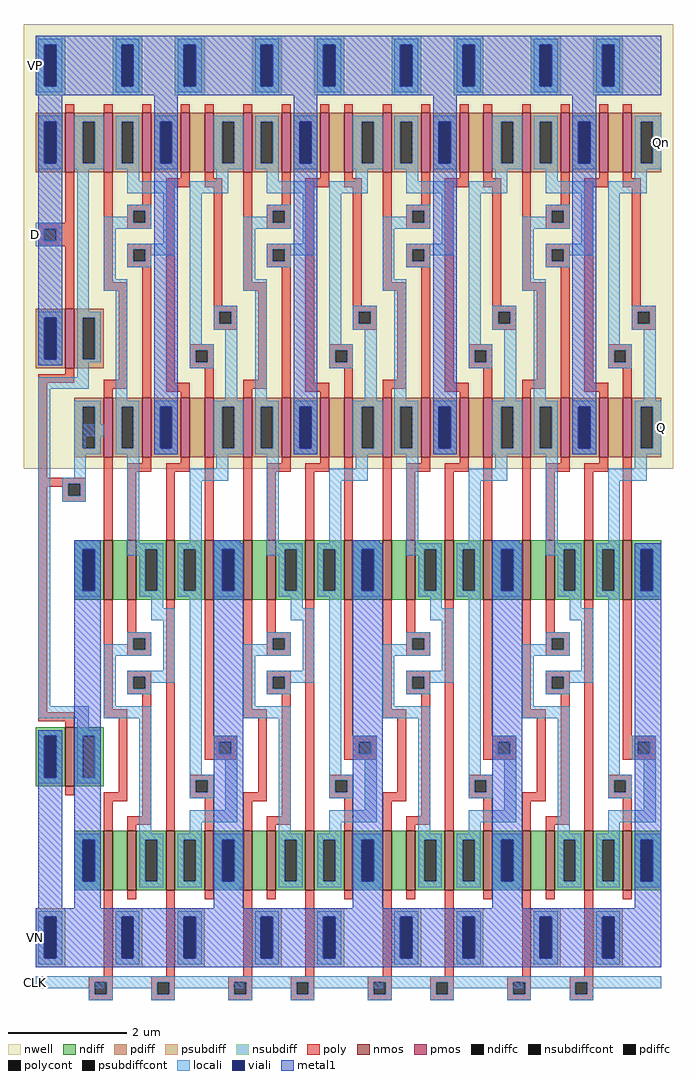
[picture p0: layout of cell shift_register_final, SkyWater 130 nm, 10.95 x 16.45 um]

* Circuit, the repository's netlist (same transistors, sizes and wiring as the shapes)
* SPICE3 file created from shift_register_final.ext - technology: sky130A

.subckt inverter A Y VP VN CLK
X0 Y A VP VP sky130_fd_pr__pfet_01v8 ad=1e+12p pd=6e+06u as=1e+12p ps=6e+06u w=1e+06u l=150000u
X1 Y A VP VP sky130_fd_pr__pfet_01v8 ad=0p pd=0u as=0p ps=0u w=1e+06u l=150000u
X2 Y A VN VN sky130_fd_pr__nfet_01v8 ad=5e+11p pd=3e+06u as=5e+11p ps=3e+06u w=1e+06u l=150000u
.ends

.subckt CSRL_D_FF_width_1 Dn D Qn Q CLK VP VN
X0 VN Q Qn VN sky130_fd_pr__nfet_01v8 ad=2e+12p pd=1.2e+07u as=5e+11p ps=3e+06u w=1e+06u l=150000u
X1 Qn Q a_290_2280# VP sky130_fd_pr__pfet_01v8 ad=5e+11p pd=3e+06u as=2.5e+11p ps=2.5e+06u w=1e+06u l=150000u
X2 a_30_840# CLK VN VN sky130_fd_pr__nfet_01v8 ad=2.5e+11p pd=2.5e+06u as=0p ps=0u w=1e+06u l=150000u
X3 VP a_30_1320# a_30_2280# VP sky130_fd_pr__pfet_01v8 ad=1e+12p pd=6e+06u as=5e+11p ps=3e+06u w=1e+06u l=150000u
X4 a_290_1320# CLK VP VP sky130_fd_pr__pfet_01v8 ad=2.5e+11p pd=2.5e+06u as=0p ps=0u w=1e+06u l=150000u
X5 a_30_1320# CLK D VP sky130_fd_pr__pfet_01v8 ad=5e+11p pd=3e+06u as=5e+11p ps=3e+06u w=1e+06u l=150000u
X6 a_30_2280# a_30_1320# a_30_n140# VN sky130_fd_pr__nfet_01v8 ad=5e+11p pd=3e+06u as=2.5e+11p ps=2.5e+06u w=1e+06u l=150000u
X7 Qn CLK a_30_2280# VN sky130_fd_pr__nfet_01v8 ad=0p pd=0u as=0p ps=0u w=1e+06u l=150000u
X8 Q CLK a_30_1320# VN sky130_fd_pr__nfet_01v8 ad=5e+11p pd=3e+06u as=5e+11p ps=3e+06u w=1e+06u l=150000u
X9 a_290_2280# CLK VP VP sky130_fd_pr__pfet_01v8 ad=0p pd=0u as=0p ps=0u w=1e+06u l=150000u
X10 Q Qn a_290_1320# VP sky130_fd_pr__pfet_01v8 ad=5e+11p pd=3e+06u as=0p ps=0u w=1e+06u l=150000u
X11 VP a_30_2280# a_30_1320# VP sky130_fd_pr__pfet_01v8 ad=0p pd=0u as=0p ps=0u w=1e+06u l=150000u
X12 a_30_n140# CLK VN VN sky130_fd_pr__nfet_01v8 ad=0p pd=0u as=0p ps=0u w=1e+06u l=150000u
X13 a_30_2280# CLK Dn VP sky130_fd_pr__pfet_01v8 ad=0p pd=0u as=5e+11p ps=3e+06u w=1e+06u l=150000u
X14 a_30_1320# a_30_2280# a_30_840# VN sky130_fd_pr__nfet_01v8 ad=0p pd=0u as=0p ps=0u w=1e+06u l=150000u
X15 VN Qn Q VN sky130_fd_pr__nfet_01v8 ad=0p pd=0u as=0p ps=0u w=1e+06u l=150000u
.ends


* Top level circuit shift_register_final

Xinverter_0 D inverter_0/Y VP VN CLK inverter
XCSRL_D_FF_width_1_0 inverter_0/Y D CSRL_D_FF_width_1_1/Dn CSRL_D_FF_width_1_1/D CLK
+ VP VN CSRL_D_FF_width_1
XCSRL_D_FF_width_1_1 CSRL_D_FF_width_1_1/Dn CSRL_D_FF_width_1_1/D CSRL_D_FF_width_1_2/Dn
+ CSRL_D_FF_width_1_2/D CLK VP VN CSRL_D_FF_width_1
XCSRL_D_FF_width_1_2 CSRL_D_FF_width_1_2/Dn CSRL_D_FF_width_1_2/D CSRL_D_FF_width_1_3/Dn
+ CSRL_D_FF_width_1_3/D CLK VP VN CSRL_D_FF_width_1
XCSRL_D_FF_width_1_3 CSRL_D_FF_width_1_3/Dn CSRL_D_FF_width_1_3/D Qn Q CLK VP VN CSRL_D_FF_width_1
.end

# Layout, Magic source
magic
tech sky130A
<< locali >>
rect 1060 1380 1075 1470
rect 20 1250 35 1290
rect 1060 900 1075 990
rect 20 0 35 20
<< metal1 >>
rect 20 1505 35 1605
rect 20 35 35 135
use inverter  inverter_0
transform 1 0 70 0 1 170
box -70 -170 85 1455
use CSRL_D_FF_width_1  CSRL_D_FF_width_1_0
transform 1 0 135 0 1 235
box -70 -250 255 1390
use CSRL_D_FF_width_1  CSRL_D_FF_width_1_1
transform 1 0 370 0 1 235
box -70 -250 255 1390
use CSRL_D_FF_width_1  CSRL_D_FF_width_1_2
transform 1 0 605 0 1 235
box -70 -250 255 1390
use CSRL_D_FF_width_1  CSRL_D_FF_width_1_3
transform 1 0 840 0 1 235
box -70 -250 255 1390
<< labels >>
rlabel locali 20 10 20 10 7 CLK
rlabel metal1 20 85 20 85 7 VN
rlabel locali 20 1270 20 1270 7 D
rlabel metal1 20 1555 20 1555 7 VP
rlabel locali 1075 1425 1075 1425 3 Qn
rlabel locali 1075 945 1075 945 3 Q
<< end >>

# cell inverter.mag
magic
tech sky130A
<< nwell >>
rect -70 705 85 1455
<< nmos >>
rect 0 170 15 270
<< pmos >>
rect 0 1205 15 1305
rect 0 875 15 975
<< ndiff >>
rect -50 255 0 270
rect -50 185 -35 255
rect -15 185 0 255
rect -50 170 0 185
rect 15 255 65 270
rect 15 185 30 255
rect 50 185 65 255
rect 15 170 65 185
<< pdiff >>
rect -50 1290 0 1305
rect -50 1220 -35 1290
rect -15 1220 0 1290
rect -50 1205 0 1220
rect 15 1290 65 1305
rect 15 1220 30 1290
rect 50 1220 65 1290
rect 15 1205 65 1220
rect -50 960 0 975
rect -50 890 -35 960
rect -15 890 0 960
rect -50 875 0 890
rect 15 960 65 975
rect 15 890 30 960
rect 50 890 65 960
rect 15 875 65 890
<< ndiffc >>
rect -35 185 -15 255
rect 30 185 50 255
<< pdiffc >>
rect -35 1220 -15 1290
rect 30 1220 50 1290
rect -35 890 -15 960
rect 30 890 50 960
<< psubdiff >>
rect -50 -50 0 -35
rect -50 -120 -35 -50
rect -15 -120 0 -50
rect -50 -135 0 -120
<< nsubdiff >>
rect -50 1420 0 1435
rect -50 1350 -35 1420
rect -15 1350 0 1420
rect -50 1335 0 1350
<< psubdiffcont >>
rect -35 -120 -15 -50
<< nsubdiffcont >>
rect -35 1350 -15 1420
<< poly >>
rect 0 1305 15 1320
rect 0 1120 15 1205
rect -45 1110 15 1120
rect -45 1090 -35 1110
rect -15 1090 15 1110
rect -45 1080 15 1090
rect 0 975 15 1080
rect 0 865 15 875
rect -45 850 15 865
rect -45 690 -30 850
rect -45 680 35 690
rect -45 675 5 680
rect -45 295 -30 675
rect -5 660 5 675
rect 25 660 35 680
rect -5 650 35 660
rect -45 280 15 295
rect 0 270 15 280
rect 0 155 15 170
<< polycont >>
rect -35 1090 -15 1110
rect 5 660 25 680
<< locali >>
rect -45 1420 -5 1430
rect -45 1350 -35 1420
rect -15 1350 -5 1420
rect -45 1340 -5 1350
rect -45 1290 -5 1300
rect -45 1220 -35 1290
rect -15 1220 -5 1290
rect -45 1210 -5 1220
rect 20 1290 65 1300
rect 20 1220 30 1290
rect 50 1220 65 1290
rect 20 1210 65 1220
rect -50 1110 -5 1120
rect -50 1090 -35 1110
rect -15 1090 -5 1110
rect -50 1080 -5 1090
rect 20 970 40 1210
rect -45 960 -5 970
rect -45 890 -35 960
rect -15 890 -5 960
rect -45 880 -5 890
rect 20 960 60 970
rect 20 890 30 960
rect 50 890 60 960
rect 20 885 60 890
rect 20 860 40 885
rect -45 840 40 860
rect -45 305 -25 840
rect 15 760 65 780
rect 15 690 35 760
rect -5 680 35 690
rect -5 660 5 680
rect 25 660 35 680
rect -5 650 35 660
rect -45 285 40 305
rect 20 265 40 285
rect -45 255 -5 265
rect -45 185 -35 255
rect -15 185 -5 255
rect -45 175 -5 185
rect 20 255 60 265
rect 20 185 30 255
rect 50 185 60 255
rect 20 175 60 185
rect -45 -50 -5 -40
rect -45 -120 -35 -50
rect -15 -120 -5 -50
rect -45 -130 -5 -120
rect -50 -170 65 -150
<< viali >>
rect -35 1350 -15 1420
rect -35 1220 -15 1290
rect -35 890 -15 960
rect -35 185 -15 255
rect -35 -120 -15 -50
<< metal1 >>
rect -50 1420 65 1435
rect -50 1350 -35 1420
rect -15 1350 65 1420
rect -50 1335 65 1350
rect -45 1290 -5 1335
rect -45 1220 -35 1290
rect -15 1220 -5 1290
rect -45 960 -5 1220
rect -45 890 -35 960
rect -15 890 -5 960
rect -45 880 -5 890
rect -45 255 -5 265
rect -45 185 -35 255
rect -15 185 -5 255
rect -45 -35 -5 185
rect -50 -50 65 -35
rect -50 -120 -35 -50
rect -15 -120 65 -50
rect -50 -135 65 -120
<< labels >>
rlabel metal1 -50 1385 -50 1385 7 VP
port 3 w
rlabel locali 65 1255 65 1255 3 Y
port 2 e
rlabel locali 65 770 65 770 3 Ao
port 6 e
rlabel locali -50 1100 -50 1100 7 A
port 1 w
rlabel metal1 -50 -85 -50 -85 7 VN
port 4 w
rlabel locali -50 -160 -50 -160 7 CLK
port 5 w
<< end >>

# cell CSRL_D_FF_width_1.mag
magic
tech sky130A
<< nwell >>
rect -70 640 255 1390
<< nmos >>
rect 0 420 15 520
rect 40 420 55 520
rect 105 420 120 520
rect 170 420 185 520
rect 0 -70 15 30
rect 40 -70 55 30
rect 105 -70 120 30
rect 170 -70 185 30
<< pmos >>
rect 0 1140 15 1240
rect 65 1140 80 1240
rect 130 1140 145 1240
rect 170 1140 185 1240
rect 0 660 15 760
rect 65 660 80 760
rect 130 660 145 760
rect 170 660 185 760
<< ndiff >>
rect -50 505 0 520
rect -50 435 -35 505
rect -15 435 0 505
rect -50 420 0 435
rect 15 420 40 520
rect 55 505 105 520
rect 55 435 70 505
rect 90 435 105 505
rect 55 420 105 435
rect 120 505 170 520
rect 120 435 135 505
rect 155 435 170 505
rect 120 420 170 435
rect 185 505 235 520
rect 185 435 200 505
rect 220 435 235 505
rect 185 420 235 435
rect -50 15 0 30
rect -50 -55 -35 15
rect -15 -55 0 15
rect -50 -70 0 -55
rect 15 -70 40 30
rect 55 15 105 30
rect 55 -55 70 15
rect 90 -55 105 15
rect 55 -70 105 -55
rect 120 15 170 30
rect 120 -55 135 15
rect 155 -55 170 15
rect 120 -70 170 -55
rect 185 15 235 30
rect 185 -55 200 15
rect 220 -55 235 15
rect 185 -70 235 -55
<< pdiff >>
rect -50 1225 0 1240
rect -50 1155 -35 1225
rect -15 1155 0 1225
rect -50 1140 0 1155
rect 15 1225 65 1240
rect 15 1155 30 1225
rect 50 1155 65 1225
rect 15 1140 65 1155
rect 80 1225 130 1240
rect 80 1155 95 1225
rect 115 1155 130 1225
rect 80 1140 130 1155
rect 145 1140 170 1240
rect 185 1225 235 1240
rect 185 1155 200 1225
rect 220 1155 235 1225
rect 185 1140 235 1155
rect -50 745 0 760
rect -50 675 -35 745
rect -15 675 0 745
rect -50 660 0 675
rect 15 745 65 760
rect 15 675 30 745
rect 50 675 65 745
rect 15 660 65 675
rect 80 745 130 760
rect 80 675 95 745
rect 115 675 130 745
rect 80 660 130 675
rect 145 660 170 760
rect 185 745 235 760
rect 185 675 200 745
rect 220 675 235 745
rect 185 660 235 675
<< ndiffc >>
rect -35 435 -15 505
rect 70 435 90 505
rect 135 435 155 505
rect 200 435 220 505
rect -35 -55 -15 15
rect 70 -55 90 15
rect 135 -55 155 15
rect 200 -55 220 15
<< pdiffc >>
rect -35 1155 -15 1225
rect 30 1155 50 1225
rect 95 1155 115 1225
rect 200 1155 220 1225
rect -35 675 -15 745
rect 30 675 50 745
rect 95 675 115 745
rect 200 675 220 745
<< psubdiff >>
rect 15 -115 65 -100
rect 15 -185 30 -115
rect 50 -185 65 -115
rect 15 -200 65 -185
rect 120 -115 170 -100
rect 120 -185 135 -115
rect 155 -185 170 -115
rect 120 -200 170 -185
<< nsubdiff >>
rect 15 1355 65 1370
rect 15 1285 30 1355
rect 50 1285 65 1355
rect 15 1270 65 1285
rect 120 1355 170 1370
rect 120 1285 135 1355
rect 155 1285 170 1355
rect 120 1270 170 1285
<< psubdiffcont >>
rect 30 -185 50 -115
rect 135 -185 155 -115
<< nsubdiffcont >>
rect 30 1285 50 1355
rect 135 1285 155 1355
<< poly >>
rect 0 1240 15 1255
rect 65 1240 80 1255
rect 130 1240 145 1255
rect 170 1240 185 1255
rect 0 955 15 1140
rect 65 1085 80 1140
rect 130 1130 145 1140
rect 40 1075 80 1085
rect 40 1055 50 1075
rect 70 1055 80 1075
rect 40 1045 80 1055
rect 105 1115 145 1130
rect 170 1130 185 1140
rect 170 1115 200 1130
rect 40 1010 80 1020
rect 40 990 50 1010
rect 70 990 80 1010
rect 40 980 80 990
rect 0 940 40 955
rect 25 790 40 940
rect 0 775 40 790
rect 0 760 15 775
rect 65 760 80 980
rect 105 785 120 1115
rect 185 915 200 1115
rect 185 905 225 915
rect 185 885 195 905
rect 215 885 225 905
rect 185 875 225 885
rect 145 840 185 850
rect 145 820 155 840
rect 175 820 185 840
rect 145 810 185 820
rect 105 770 145 785
rect 130 760 145 770
rect 170 760 185 810
rect 0 520 15 660
rect 65 650 80 660
rect 130 650 145 660
rect 40 635 80 650
rect 105 635 145 650
rect 40 520 55 635
rect 105 520 120 635
rect 170 520 185 660
rect 0 235 15 420
rect 40 365 55 420
rect 40 355 80 365
rect 40 335 50 355
rect 70 335 80 355
rect 40 325 80 335
rect 40 290 80 300
rect 40 270 50 290
rect 70 270 80 290
rect 40 260 80 270
rect 0 220 40 235
rect 25 95 40 220
rect 0 80 40 95
rect 0 30 15 80
rect 65 55 80 260
rect 40 40 80 55
rect 40 30 55 40
rect 105 30 120 420
rect 170 190 185 420
rect 170 180 225 190
rect 170 160 195 180
rect 215 160 225 180
rect 170 150 225 160
rect 145 115 185 125
rect 145 95 155 115
rect 175 95 185 115
rect 145 85 185 95
rect 170 30 185 85
rect 0 -215 15 -70
rect 40 -85 55 -70
rect 105 -215 120 -70
rect 170 -85 185 -70
rect -25 -225 15 -215
rect -25 -245 -15 -225
rect 5 -245 15 -225
rect -25 -255 15 -245
rect 80 -225 120 -215
rect 80 -245 90 -225
rect 110 -245 120 -225
rect 80 -255 120 -245
<< polycont >>
rect 50 1055 70 1075
rect 50 990 70 1010
rect 195 885 215 905
rect 155 820 175 840
rect 50 335 70 355
rect 50 270 70 290
rect 195 160 215 180
rect 155 95 175 115
rect -15 -245 5 -225
rect 90 -245 110 -225
<< locali >>
rect 20 1355 60 1365
rect 20 1285 30 1355
rect 50 1285 60 1355
rect 20 1275 60 1285
rect 125 1355 165 1365
rect 125 1285 135 1355
rect 155 1285 165 1355
rect 125 1275 165 1285
rect -50 1225 -5 1235
rect -50 1155 -35 1225
rect -15 1155 -5 1225
rect -50 1145 -5 1155
rect 20 1225 60 1235
rect 20 1155 30 1225
rect 50 1155 60 1225
rect 20 1145 60 1155
rect 85 1225 125 1235
rect 85 1155 95 1225
rect 115 1155 125 1225
rect 85 1145 125 1155
rect 190 1225 235 1235
rect 190 1155 200 1225
rect 220 1155 235 1225
rect 190 1145 235 1155
rect 40 1125 60 1145
rect 190 1125 210 1145
rect 40 1105 120 1125
rect 40 1075 80 1085
rect 40 1065 50 1075
rect 0 1055 50 1065
rect 70 1055 80 1075
rect 0 1045 80 1055
rect 0 960 20 1045
rect 100 1020 120 1105
rect 40 1010 120 1020
rect 40 990 50 1010
rect 70 1000 120 1010
rect 145 1105 210 1125
rect 70 990 80 1000
rect 40 980 80 990
rect 0 940 40 960
rect 20 755 40 940
rect 145 850 165 1105
rect 185 905 225 915
rect 185 885 195 905
rect 215 885 225 905
rect 185 875 225 885
rect 145 840 185 850
rect 145 820 155 840
rect 175 820 185 840
rect 145 810 185 820
rect 205 755 225 875
rect -50 745 -5 755
rect -50 675 -35 745
rect -15 675 -5 745
rect -50 665 -5 675
rect 20 745 60 755
rect 20 675 30 745
rect 50 675 60 745
rect 20 665 60 675
rect 85 745 125 755
rect 85 675 95 745
rect 115 675 125 745
rect 85 665 125 675
rect 190 745 235 755
rect 190 675 200 745
rect 220 675 235 745
rect 190 665 235 675
rect -50 505 -5 520
rect -50 435 -35 505
rect -15 435 -5 505
rect 40 515 60 665
rect 190 640 210 665
rect 145 620 210 640
rect 145 515 165 620
rect 40 505 100 515
rect 40 495 70 505
rect -50 425 -5 435
rect 60 435 70 495
rect 90 435 100 505
rect 60 425 100 435
rect 125 505 165 515
rect 125 435 135 505
rect 155 435 165 505
rect 125 425 165 435
rect 190 505 235 515
rect 190 435 200 505
rect 220 435 235 505
rect 190 425 235 435
rect 80 405 100 425
rect 80 385 120 405
rect 40 355 80 365
rect 40 345 50 355
rect 0 335 50 345
rect 70 335 80 355
rect 0 325 80 335
rect 0 240 20 325
rect 100 300 120 385
rect 40 290 120 300
rect 40 270 50 290
rect 70 280 120 290
rect 70 270 80 280
rect 40 260 80 270
rect 0 220 80 240
rect 60 25 80 220
rect 145 125 165 425
rect 185 180 225 190
rect 185 160 195 180
rect 215 160 225 180
rect 185 150 225 160
rect 145 115 185 125
rect 145 95 155 115
rect 175 95 185 115
rect 145 85 185 95
rect 205 65 225 150
rect 145 45 225 65
rect 145 25 165 45
rect -50 15 -5 25
rect -50 -55 -35 15
rect -15 -55 -5 15
rect -50 -70 -5 -55
rect 60 15 100 25
rect 60 -55 70 15
rect 90 -55 100 15
rect 60 -65 100 -55
rect 125 15 165 25
rect 125 -55 135 15
rect 155 -55 165 15
rect 125 -65 165 -55
rect 190 15 235 25
rect 190 -55 200 15
rect 220 -55 235 15
rect 190 -65 235 -55
rect 20 -115 60 -105
rect 20 -185 30 -115
rect 50 -185 60 -115
rect 20 -195 60 -185
rect 125 -115 165 -105
rect 125 -185 135 -115
rect 155 -185 165 -115
rect 125 -195 165 -185
rect -50 -225 235 -215
rect -50 -235 -15 -225
rect -25 -245 -15 -235
rect 5 -235 90 -225
rect 5 -245 15 -235
rect -25 -255 15 -245
rect 80 -245 90 -235
rect 110 -235 235 -225
rect 110 -245 120 -235
rect 80 -255 120 -245
<< viali >>
rect 30 1285 50 1355
rect 135 1285 155 1355
rect 95 1155 115 1225
rect 95 675 115 745
rect -35 435 -15 505
rect 200 435 220 505
rect -35 -55 -15 15
rect 200 -55 220 15
rect 30 -185 50 -115
rect 135 -185 155 -115
<< metal1 >>
rect -50 1355 235 1370
rect -50 1285 30 1355
rect 50 1285 135 1355
rect 155 1285 235 1355
rect -50 1270 235 1285
rect 85 1225 125 1270
rect 85 1155 95 1225
rect 115 1155 125 1225
rect 85 745 125 1155
rect 85 675 95 745
rect 115 675 125 745
rect 85 665 125 675
rect -50 505 -5 520
rect -50 435 -35 505
rect -15 435 -5 505
rect -50 15 -5 435
rect -50 -55 -35 15
rect -15 -55 -5 15
rect -50 -100 -5 -55
rect 190 505 235 515
rect 190 435 200 505
rect 220 435 235 505
rect 190 15 235 435
rect 190 -55 200 15
rect 220 -55 235 15
rect 190 -100 235 -55
rect -50 -115 235 -100
rect -50 -185 30 -115
rect 50 -185 135 -115
rect 155 -185 235 -115
rect -50 -200 235 -185
<< labels >>
rlabel locali 235 710 235 710 3 Q
port 4 e
rlabel locali -50 710 -50 710 7 D
port 2 w
rlabel locali 235 1190 235 1190 3 Qn
port 3 e
rlabel locali -50 1190 -50 1190 7 Dn
port 1 w
rlabel metal1 -50 1325 -50 1325 7 VP
port 6 w
rlabel metal1 -50 -155 -50 -155 7 VN
port 7 w
rlabel locali -50 -225 -50 -225 7 CLK
port 5 w
<< end >>
